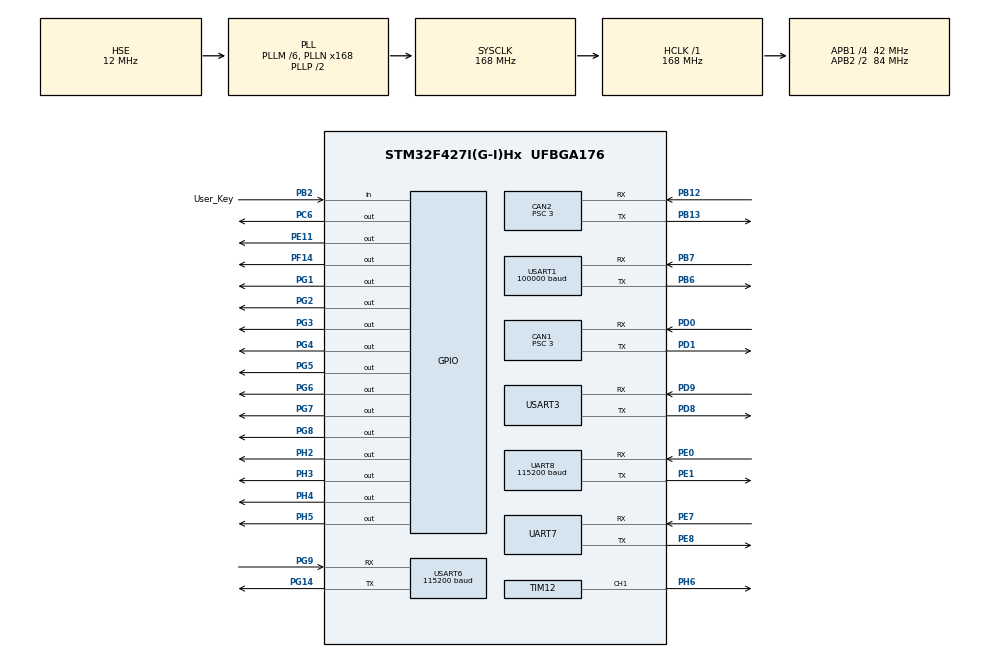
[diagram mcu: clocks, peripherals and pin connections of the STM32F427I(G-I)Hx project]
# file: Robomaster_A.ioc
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CAN1.BS1=CAN_BS1_10TQ
CAN1.BS2=CAN_BS2_3TQ
CAN1.CalculateBaudRate=1000000
CAN1.CalculateTimeBit=1000
CAN1.CalculateTimeQuantum=71.42857142857143
CAN1.Prescaler=3
CAN2.BS1=CAN_BS1_10TQ
CAN2.BS2=CAN_BS2_3TQ
CAN2.CalculateBaudRate=1000000
CAN2.CalculateTimeBit=1000
CAN2.CalculateTimeQuantum=71.42857142857143
CAN2.Prescaler=3
Dma.Request0=USART3_TX
Dma.Request1=UART7_RX
Dma.Request2=UART7_TX
Dma.Request3=UART8_TX
Dma.Request4=UART8_RX
Dma.Request5=USART6_RX
Dma.Request6=USART6_TX
Dma.UART7_RX.1.Direction=DMA_PERIPH_TO_MEMORY
Dma.UART7_RX.1.FIFOMode=DMA_FIFOMODE_DISABLE
Dma.UART7_RX.1.Instance=DMA1_Stream3
Dma.UART7_RX.1.MemDataAlignment=DMA_MDATAALIGN_BYTE
Dma.UART7_RX.1.MemInc=DMA_MINC_ENABLE
Dma.UART7_RX.1.Mode=DMA_NORMAL
Dma.UART7_RX.1.PeriphDataAlignment=DMA_PDATAALIGN_BYTE
Dma.UART7_RX.1.PeriphInc=DMA_PINC_DISABLE
Dma.UART7_RX.1.Priority=DMA_PRIORITY_LOW
Dma.UART7_TX.2.Direction=DMA_MEMORY_TO_PERIPH
Dma.UART7_TX.2.FIFOMode=DMA_FIFOMODE_DISABLE
Dma.UART7_TX.2.Instance=DMA1_Stream1
Dma.UART7_TX.2.MemDataAlignment=DMA_MDATAALIGN_BYTE
Dma.UART7_TX.2.MemInc=DMA_MINC_ENABLE
Dma.UART7_TX.2.Mode=DMA_NORMAL
Dma.UART7_TX.2.PeriphDataAlignment=DMA_PDATAALIGN_BYTE
Dma.UART7_TX.2.PeriphInc=DMA_PINC_DISABLE
Dma.UART7_TX.2.Priority=DMA_PRIORITY_LOW
Dma.UART8_RX.4.Direction=DMA_PERIPH_TO_MEMORY
Dma.UART8_RX.4.FIFOMode=DMA_FIFOMODE_DISABLE
Dma.UART8_RX.4.Instance=DMA1_Stream6
Dma.UART8_RX.4.MemDataAlignment=DMA_MDATAALIGN_BYTE
Dma.UART8_RX.4.MemInc=DMA_MINC_ENABLE
Dma.UART8_RX.4.Mode=DMA_NORMAL
Dma.UART8_RX.4.PeriphDataAlignment=DMA_PDATAALIGN_BYTE
Dma.UART8_RX.4.PeriphInc=DMA_PINC_DISABLE
Dma.UART8_RX.4.Priority=DMA_PRIORITY_LOW
Dma.UART8_TX.3.Direction=DMA_MEMORY_TO_PERIPH
Dma.UART8_TX.3.FIFOMode=DMA_FIFOMODE_DISABLE
Dma.UART8_TX.3.Instance=DMA1_Stream0
Dma.UART8_TX.3.MemDataAlignment=DMA_MDATAALIGN_BYTE
Dma.UART8_TX.3.MemInc=DMA_MINC_ENABLE
Dma.UART8_TX.3.Mode=DMA_NORMAL
Dma.UART8_TX.3.PeriphDataAlignment=DMA_PDATAALIGN_BYTE
Dma.UART8_TX.3.PeriphInc=DMA_PINC_DISABLE
Dma.UART8_TX.3.Priority=DMA_PRIORITY_LOW
Dma.USART3_TX.0.Direction=DMA_MEMORY_TO_PERIPH
Dma.USART3_TX.0.FIFOMode=DMA_FIFOMODE_DISABLE
Dma.USART3_TX.0.Instance=DMA1_Stream4
Dma.USART3_TX.0.MemDataAlignment=DMA_MDATAALIGN_BYTE
Dma.USART3_TX.0.MemInc=DMA_MINC_ENABLE
Dma.USART3_TX.0.Mode=DMA_NORMAL
Dma.USART3_TX.0.PeriphDataAlignment=DMA_PDATAALIGN_BYTE
Dma.USART3_TX.0.PeriphInc=DMA_PINC_DISABLE
Dma.USART3_TX.0.Priority=DMA_PRIORITY_LOW
Dma.USART6_RX.5.Direction=DMA_PERIPH_TO_MEMORY
Dma.USART6_RX.5.FIFOMode=DMA_FIFOMODE_DISABLE
Dma.USART6_RX.5.Instance=DMA2_Stream1
Dma.USART6_RX.5.MemDataAlignment=DMA_MDATAALIGN_BYTE
Dma.USART6_RX.5.MemInc=DMA_MINC_ENABLE
Dma.USART6_RX.5.Mode=DMA_NORMAL
Dma.USART6_RX.5.PeriphDataAlignment=DMA_PDATAALIGN_BYTE
Dma.USART6_RX.5.PeriphInc=DMA_PINC_DISABLE
Dma.USART6_RX.5.Priority=DMA_PRIORITY_LOW
Dma.USART6_TX.6.Direction=DMA_MEMORY_TO_PERIPH
Dma.USART6_TX.6.FIFOMode=DMA_FIFOMODE_DISABLE
Dma.USART6_TX.6.Instance=DMA2_Stream6
Dma.USART6_TX.6.MemDataAlignment=DMA_MDATAALIGN_BYTE
Dma.USART6_TX.6.MemInc=DMA_MINC_ENABLE
Dma.USART6_TX.6.Mode=DMA_NORMAL
Dma.USART6_TX.6.PeriphDataAlignment=DMA_PDATAALIGN_BYTE
Dma.USART6_TX.6.PeriphInc=DMA_PINC_DISABLE
Dma.USART6_TX.6.Priority=DMA_PRIORITY_LOW
FREERTOS.Tasks01=StartDebug,-2,128,StartDebugTask,Default,NULL,Dynamic,NULL,NULL;PID_OutputTask,0,256,PID_Output,Default,NULL,Dynamic,NULL,NULL;KeyTask,0,256,Key,Default,NULL,Dynamic,NULL,NULL;While,1,256,WhileTask,Default,NULL,Dynamic,NULL,NULL;Printf,-3,256,PrintfTask,Default,NULL,Dynamic,NULL,NULL;BlueTeeth,0,256,BlueTeethTask,Default,NULL,Dynamic,NULL,NULL
FREERTOS.configTOTAL_HEAP_SIZE=10000
FREERTOS.configUSE_NEWLIB_REENTRANT=0
Mcu.Family=STM32F4
Mcu.Name=STM32F427I(G-I)Hx
Mcu.Package=UFBGA176
NVIC.CAN1_RX0_IRQn=true\:5\:0\:true\:false\:true\:true\:true\:true\:true
NVIC.CAN2_RX0_IRQn=true\:5\:0\:false\:false\:true\:true\:true\:true\:true
NVIC.DMA1_Stream0_IRQn=true\:5\:0\:true\:false\:true\:true\:false\:true\:true
NVIC.DMA1_Stream1_IRQn=true\:5\:0\:true\:false\:true\:true\:false\:true\:true
NVIC.DMA1_Stream3_IRQn=true\:5\:0\:true\:false\:true\:true\:false\:true\:true
NVIC.DMA1_Stream4_IRQn=true\:5\:0\:true\:false\:true\:true\:false\:true\:true
NVIC.DMA1_Stream6_IRQn=true\:5\:0\:true\:false\:true\:true\:false\:true\:true
NVIC.DMA2_Stream1_IRQn=true\:5\:0\:false\:false\:true\:true\:false\:true\:true
NVIC.DMA2_Stream6_IRQn=true\:5\:0\:false\:false\:true\:true\:false\:true\:true
NVIC.PriorityGroup=NVIC_PRIORITYGROUP_4
NVIC.TIM4_IRQn=true\:15\:0\:false\:false\:true\:false\:false\:true\:true
NVIC.TimeBase=TIM4_IRQn
NVIC.TimeBaseIP=TIM4
NVIC.UART7_IRQn=true\:5\:0\:true\:false\:true\:true\:true\:true\:true
NVIC.UART8_IRQn=true\:5\:0\:true\:false\:true\:true\:true\:true\:true
NVIC.USART1_IRQn=true\:5\:0\:false\:false\:true\:true\:true\:true\:true
NVIC.USART3_IRQn=true\:5\:0\:true\:false\:true\:true\:true\:true\:true
NVIC.USART6_IRQn=true\:5\:0\:true\:false\:true\:true\:true\:true\:true
PA13.Mode=Serial_Wire
PA13.Signal=SYS_JTMS-SWDIO
PA14.Mode=Serial_Wire
PA14.Signal=SYS_JTCK-SWCLK
PB12.Mode=CAN_Activate
PB12.Signal=CAN2_RX
PB13.Mode=CAN_Activate
PB13.Signal=CAN2_TX
PB2/BOOT1.GPIO_Label=User_Key
PB2/BOOT1.GPIO_PuPd=GPIO_PULLDOWN
PB2/BOOT1.Signal=GPIO_Input
PB6.Mode=Asynchronous
PB6.Signal=USART1_TX
PB7.Mode=Asynchronous
PB7.Signal=USART1_RX
PC6.Signal=GPIO_Output
PD0.Mode=CAN_Activate
PD0.Signal=CAN1_RX
PD1.Mode=CAN_Activate
PD1.Signal=CAN1_TX
PD8.Mode=Asynchronous
PD8.Signal=USART3_TX
PD9.Mode=Asynchronous
PD9.Signal=USART3_RX
PE0.Mode=Asynchronous
PE0.Signal=UART8_RX
PE1.Mode=Asynchronous
PE1.Signal=UART8_TX
PE11.GPIO_PuPd=GPIO_NOPULL
PE11.GPIO_Speed=GPIO_SPEED_FREQ_HIGH
PE11.Signal=GPIO_Output
PE7.Mode=Asynchronous
PE7.Signal=UART7_RX
PE8.Mode=Asynchronous
PE8.Signal=UART7_TX
PF14.GPIO_Speed=GPIO_SPEED_FREQ_HIGH
PF14.Signal=GPIO_Output
PG1.GPIO_Speed=GPIO_SPEED_FREQ_LOW
PG1.PinState=GPIO_PIN_SET
PG1.Signal=GPIO_Output
PG14.GPIO_PuPd=GPIO_NOPULL
PG14.Mode=Asynchronous
PG14.Signal=USART6_TX
PG2.GPIO_Speed=GPIO_SPEED_FREQ_LOW
PG2.PinState=GPIO_PIN_SET
PG2.Signal=GPIO_Output
PG3.GPIO_Speed=GPIO_SPEED_FREQ_LOW
PG3.PinState=GPIO_PIN_SET
PG3.Signal=GPIO_Output
PG4.GPIO_Speed=GPIO_SPEED_FREQ_LOW
PG4.PinState=GPIO_PIN_SET
PG4.Signal=GPIO_Output
PG5.GPIO_Speed=GPIO_SPEED_FREQ_LOW
PG5.PinState=GPIO_PIN_SET
PG5.Signal=GPIO_Output
PG6.GPIO_Speed=GPIO_SPEED_FREQ_LOW
PG6.PinState=GPIO_PIN_SET
PG6.Signal=GPIO_Output
PG7.GPIO_Speed=GPIO_SPEED_FREQ_LOW
PG7.PinState=GPIO_PIN_SET
PG7.Signal=GPIO_Output
PG8.GPIO_Speed=GPIO_SPEED_FREQ_LOW
PG8.PinState=GPIO_PIN_SET
PG8.Signal=GPIO_Output
PG9.GPIO_PuPd=GPIO_PULLUP
PG9.Mode=Asynchronous
PG9.Signal=USART6_RX
PH0/OSC_IN.Mode=HSE-External-Oscillator
PH0/OSC_IN.Signal=RCC_OSC_IN
PH1/OSC_OUT.Mode=HSE-External-Oscillator
PH1/OSC_OUT.Signal=RCC_OSC_OUT
PH2.Signal=GPIO_Output
PH3.Signal=GPIO_Output
PH4.Signal=GPIO_Output
PH5.Signal=GPIO_Output
PH6.Signal=S_TIM12_CH1
ProjectManager.HeapSize=0x200
ProjectManager.StackSize=0x400
ProjectManager.TargetToolchain=STM32CubeIDE
RCC.48MHZClocksFreq_Value=84000000
RCC.AHBFreq_Value=168000000
RCC.APB1CLKDivider=RCC_HCLK_DIV4
RCC.APB1Freq_Value=42000000
RCC.APB1TimFreq_Value=84000000
RCC.APB2CLKDivider=RCC_HCLK_DIV2
RCC.APB2Freq_Value=84000000
RCC.APB2TimFreq_Value=168000000
RCC.CortexFreq_Value=168000000
RCC.HCLKFreq_Value=168000000
RCC.HSE_VALUE=12000000
RCC.HSI_VALUE=16000000
RCC.LSE_VALUE=32768
RCC.PLLM=6
RCC.PLLN=168
RCC.PLLSourceVirtual=RCC_PLLSOURCE_HSE
RCC.SYSCLKFreq_VALUE=168000000
RCC.SYSCLKSource=RCC_SYSCLKSOURCE_PLLCLK
RCC.VCOOutputFreq_Value=336000000
SH.S_TIM12_CH1.0=TIM12_CH1,PWM Generation1 CH1
TIM12.AutoReloadPreload=TIM_AUTORELOAD_PRELOAD_ENABLE
TIM12.Channel-PWM\ Generation1\ CH1=TIM_CHANNEL_1
TIM12.Period=16799
TIM12.Prescaler=3
UART7.VirtualMode=Asynchronous
UART8.BaudRate=115200
UART8.VirtualMode=Asynchronous
USART1.BaudRate=100000
USART1.VirtualMode=VM_ASYNC
USART3.VirtualMode=VM_ASYNC
USART6.BaudRate=115200
USART6.VirtualMode=VM_ASYNC
VP_FREERTOS_VS_CMSIS_V1.Mode=CMSIS_V1
VP_SYS_VS_tim4.Mode=TIM4
VP_TIM12_VS_ClockSourceINT.Mode=Internal
board=custom

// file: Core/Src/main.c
/* USER CODE BEGIN Header */
/**
  ******************************************************************************
  * @file           : main.c
  * @brief          : Main program body
  ******************************************************************************
  * @attention
  *
  * Copyright (c) 2023 STMicroelectronics.
  * All rights reserved.
  *
  * This software is licensed under terms that can be found in the LICENSE file
  * in the root directory of this software component.
  * If no LICENSE file comes with this software, it is provided AS-IS.
  *
  ******************************************************************************
  */
/* USER CODE END Header */
#include "main.h"
#include "cmsis_os.h"
#include "can.h"
#include "dma.h"
#include "tim.h"
#include "usart.h"
#include "gpio.h"

void SystemClock_Config(void);
void MX_FREERTOS_Init(void);

int main(void)
{

  /* MCU Configuration--------------------------------------------------------*/

  /* Reset of all peripherals, Initializes the Flash interface and the Systick. */
  HAL_Init();

  /* Configure the system clock */
  SystemClock_Config();

  /* Initialize all configured peripherals */
  MX_GPIO_Init();
  MX_DMA_Init();
  MX_CAN1_Init();
  MX_CAN2_Init();
  MX_USART3_UART_Init();
  MX_USART6_UART_Init();
  MX_UART8_Init();
  MX_UART7_Init();
  MX_TIM12_Init();
  MX_USART1_UART_Init();

  /* Call init function for freertos objects (in freertos.c) */
  MX_FREERTOS_Init();

  /* Start scheduler */
  osKernelStart();

  /* We should never get here as control is now taken by the scheduler */
  /* Infinite loop */
  while (1)
  {

  }
}

void SystemClock_Config(void)
{
  RCC_OscInitTypeDef RCC_OscInitStruct = {0};
  RCC_ClkInitTypeDef RCC_ClkInitStruct = {0};

  /** Configure the main internal regulator output voltage
  */
  __HAL_RCC_PWR_CLK_ENABLE();
  __HAL_PWR_VOLTAGESCALING_CONFIG(PWR_REGULATOR_VOLTAGE_SCALE1);

  /** Initializes the RCC Oscillators according to the specified parameters
  * in the RCC_OscInitTypeDef structure.
  */
  RCC_OscInitStruct.OscillatorType = RCC_OSCILLATORTYPE_HSE;
  RCC_OscInitStruct.HSEState = RCC_HSE_ON;
  RCC_OscInitStruct.PLL.PLLState = RCC_PLL_ON;
  RCC_OscInitStruct.PLL.PLLSource = RCC_PLLSOURCE_HSE;
  RCC_OscInitStruct.PLL.PLLM = 6;
  RCC_OscInitStruct.PLL.PLLN = 168;
  RCC_OscInitStruct.PLL.PLLP = RCC_PLLP_DIV2;
  RCC_OscInitStruct.PLL.PLLQ = 4;
  if (HAL_RCC_OscConfig(&RCC_OscInitStruct) != HAL_OK)
  {
    Error_Handler();
  }

  /** Initializes the CPU, AHB and APB buses clocks
  */
  RCC_ClkInitStruct.ClockType = RCC_CLOCKTYPE_HCLK|RCC_CLOCKTYPE_SYSCLK
                              |RCC_CLOCKTYPE_PCLK1|RCC_CLOCKTYPE_PCLK2;
  RCC_ClkInitStruct.SYSCLKSource = RCC_SYSCLKSOURCE_PLLCLK;
  RCC_ClkInitStruct.AHBCLKDivider = RCC_SYSCLK_DIV1;
  RCC_ClkInitStruct.APB1CLKDivider = RCC_HCLK_DIV4;
  RCC_ClkInitStruct.APB2CLKDivider = RCC_HCLK_DIV2;

  if (HAL_RCC_ClockConfig(&RCC_ClkInitStruct, FLASH_LATENCY_5) != HAL_OK)
  {
    Error_Handler();
  }
}

void HAL_TIM_PeriodElapsedCallback(TIM_HandleTypeDef *htim)
{
  if (htim->Instance == TIM4) {
    HAL_IncTick();
  }
}

void Error_Handler(void)
{
  __disable_irq();
  while (1)
  {
  }
}

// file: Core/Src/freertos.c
/* USER CODE BEGIN Header */
/**
  ******************************************************************************
  * File Name          : freertos.c
  * Description        : Code for freertos applications
  ******************************************************************************
  * @attention
  *
  * Copyright (c) 2023 STMicroelectronics.
  * All rights reserved.
  *
  * This software is licensed under terms that can be found in the LICENSE file
  * in the root directory of this software component.
  * If no LICENSE file comes with this software, it is provided AS-IS.
  *
  ******************************************************************************
  */
/* USER CODE END Header */

#include "FreeRTOS.h"
#include "task.h"
#include "main.h"
#include "cmsis_os.h"

/* USER CODE BEGIN PM */
int Charge_count = 0;
extern int feed;
/* USER CODE END PM */

osThreadId StartDebugHandle;
osThreadId PID_OutputTaskHandle;
osThreadId KeyTaskHandle;
osThreadId WhileHandle;
osThreadId PrintfHandle;
osThreadId BlueTeethHandle;

void StartDebugTask(void const * argument);
void PID_Output(void const * argument);
void Key(void const * argument);
void WhileTask(void const * argument);
void PrintfTask(void const * argument);
void BlueTeethTask(void const * argument);

void MX_FREERTOS_Init(void); /* (MISRA C 2004 rule 8.1) */

/* GetIdleTaskMemory prototype (linked to static allocation support) */
void vApplicationGetIdleTaskMemory( StaticTask_t **ppxIdleTaskTCBBuffer, StackType_t **ppxIdleTaskStackBuffer, uint32_t *pulIdleTaskStackSize );

/* USER CODE BEGIN GET_IDLE_TASK_MEMORY */
static StaticTask_t xIdleTaskTCBBuffer;
static StackType_t xIdleStack[configMINIMAL_STACK_SIZE];

void vApplicationGetIdleTaskMemory( StaticTask_t **ppxIdleTaskTCBBuffer, StackType_t **ppxIdleTaskStackBuffer, uint32_t *pulIdleTaskStackSize )
{
  *ppxIdleTaskTCBBuffer = &xIdleTaskTCBBuffer;
  *ppxIdleTaskStackBuffer = &xIdleStack[0];
  *pulIdleTaskStackSize = configMINIMAL_STACK_SIZE;
  /* place for user code */
}
/* USER CODE END GET_IDLE_TASK_MEMORY */

void MX_FREERTOS_Init(void) {

  /* Create the thread(s) */
  /* definition and creation of StartDebug */
  osThreadDef(StartDebug, StartDebugTask, osPriorityLow, 0, 128);
  StartDebugHandle = osThreadCreate(osThread(StartDebug), NULL);

  /* definition and creation of PID_OutputTask */
  osThreadDef(PID_OutputTask, PID_Output, osPriorityNormal, 0, 256);
  PID_OutputTaskHandle = osThreadCreate(osThread(PID_OutputTask), NULL);

  /* definition and creation of KeyTask */
  osThreadDef(KeyTask, Key, osPriorityNormal, 0, 256);
  KeyTaskHandle = osThreadCreate(osThread(KeyTask), NULL);

  /* definition and creation of While */
  osThreadDef(While, WhileTask, osPriorityAboveNormal, 0, 256);
  WhileHandle = osThreadCreate(osThread(While), NULL);

  /* definition and creation of Printf */
  osThreadDef(Printf, PrintfTask, osPriorityIdle, 0, 256);
  PrintfHandle = osThreadCreate(osThread(Printf), NULL);

  /* definition and creation of BlueTeeth */
  osThreadDef(BlueTeeth, BlueTeethTask, osPriorityNormal, 0, 256);
  BlueTeethHandle = osThreadCreate(osThread(BlueTeeth), NULL);

  /* USER CODE BEGIN RTOS_THREADS */
  /* add threads, ... */
    vTaskResume(StartDebugHandle);
    vTaskSuspend(PID_OutputTaskHandle);
    vTaskSuspend(PrintfHandle);
    vTaskSuspend(KeyTaskHandle);
    vTaskSuspend(WhileHandle);
    vTaskSuspend(BlueTeethHandle);
  /* USER CODE END RTOS_THREADS */

}

void StartDebugTask(void const * argument)
{
  /* USER CODE BEGIN StartDebugTask */
    Mymain_Init();

    vTaskResume(PID_OutputTaskHandle);
    vTaskResume(PrintfHandle);
    vTaskResume(WhileHandle);
    vTaskResume(KeyTaskHandle);
    vTaskResume(BlueTeethHandle);

    BUZZER_OFF;

//    printf7("1 free\n");
  /* Infinite loop */
  for(;;)
  {
      LED1_Flash;
      LED2_Flash;
      WaterLED();
//      printf3("%d,%d,%d,%d,%d,%d,%d\r\n",SCREEN[1].Username[0],SCREEN[1].Username[1],SCREEN[1].Username[2],SCREEN[1].Username[3],SCREEN[1].Username[4],SCREEN[1].Username[5],SCREEN[1].Username[6]);
//      osDelay(10);
//      printf3("%d,%d,%d,%d,%d,%d,%d\r\n",SCREEN[2].Username[0],SCREEN[2].Username[1],SCREEN[2].Username[2],SCREEN[2].Username[3],SCREEN[2].Username[4],SCREEN[2].Username[5],SCREEN[2].Username[6]);

//      printf7("1\r\n");
      osDelay(70);
  }
  /* USER CODE END StartDebugTask */
}

void PID_Output(void const * argument)
{
  /* USER CODE BEGIN PID_Output */
    int16_t Speed1,Speed2,Speed3,Speed4;
    int16_t Speed1_OUT,Speed2_OUT,Speed3_OUT,Speed4_OUT;

    //数组0-3对应电机id1-4
    PID_Change(&MOTOR2006_S[0],&MOTOR2006_P[0],5.5f,0.05f,0.0f,0.45f,1.5f);
    PID_Change(&MOTOR2006_S[1],&MOTOR2006_P[1],5.5f,0.05f,0.0f,0.45f,1.5f);
    PID_Change(&MOTOR2006_S[2],&MOTOR2006_P[2],5.5f,0.05f,0.0f,0.45f,1.5f);
    PID_Change(&MOTOR2006_S[3],&MOTOR2006_P[3],5.5f,0.05f,0.0f,0.45f,1.5f);

    //记录电机应该对开的正向电机角度正负
    /*
     *   如下图机构所示：
     *   上层：
     *      * * * *
     *      * * * *
     *   <- * * * *  ->
     *      * * * *
     *    id2       id1
     *
     *    下层：
     *          ^
     *          |
     *      * * * *  id4
     *      * * * *
     *      * * * *
     *      * * * *
     *              id3
     *           |
     *           \/
     *
     *
     */

//    AllMotor_Give(0,0,0,10);
  /* Infinite loop */
  for(;;)
  {
//      AllMotor_Give(OneLocker_Angle,2 * OneLocker_Angle,(float)(-OneLocker_Angle + OneLocker_Angle * (3 - 1)),-2 * OneLocker_Angle);

      Speed1 = (int16_t) PID_realise(&MOTOR2006_P[0],Angle_Output[0],motor_info[0].total_angle,M2006_CURRENT_MAX);
      Speed2 = (int16_t) PID_realise(&MOTOR2006_P[1],Angle_Output[1],motor_info[1].total_angle,M2006_CURRENT_MAX);
      Speed3 = (int16_t) PID_realise(&MOTOR2006_P[2],Angle_Output[2],motor_info[2].total_angle,M2006_CURRENT_MAX);
      Speed4 = (int16_t) PID_realise(&MOTOR2006_P[3],Angle_Output[3],motor_info[3].total_angle,M2006_CURRENT_MAX);

//      usart_printf("%f,%d,%f,%d\n",Angle_Output[0],motor_info[0].total_angle,Angle_Output[1],motor_info[0].total_angle);
      Speed1 = Output_Limit(Speed1);
      Speed2 = Output_Limit(Speed2);
      Speed3 = Output_Limit(Speed3);
      Speed4 = Output_Limit(Speed4);
//      printf3("1\n");
      Speed1_OUT = (int16_t) PID_realise(&MOTOR2006_S[0],Speed1,motor_info[0].speed,M2006_CURRENT_MAX);
      Speed2_OUT = (int16_t) PID_realise(&MOTOR2006_S[1],Speed2,motor_info[1].speed,M2006_CURRENT_MAX);
      Speed3_OUT = (int16_t) PID_realise(&MOTOR2006_S[2],Speed3,motor_info[2].speed,M2006_CURRENT_MAX);
      Speed4_OUT = (int16_t) PID_realise(&MOTOR2006_S[3],Speed4,motor_info[3].speed,M2006_CURRENT_MAX);

      set_current(&hcan1,0x200,Speed1_OUT,Speed2_OUT,Speed3_OUT,Speed4_OUT);

    osDelay(5);
  }
  /* USER CODE END PID_Output */
}

void Key(void const * argument)
{
  /* USER CODE BEGIN Key */
  /* Infinite loop */
  for(;;)
  {
      Key_Scan();
    osDelay(1);
  }
  /* USER CODE END Key */
}

void WhileTask(void const * argument)
{
  /* USER CODE BEGIN WhileTask */
  /* Infinite loop */
  for(;;)
  {
      if(init_flag == 1)
          UR_Init();

    osDelay(0);
  }
  /* USER CODE END WhileTask */
}

void PrintfTask(void const * argument)
{
  /* USER CODE BEGIN PrintfTask */
  /* Infinite loop */
  for(;;)
  {
      Printf_Judge();
    osDelay(80);
  }
  /* USER CODE END PrintfTask */
}

void BlueTeethTask(void const * argument)
{
  /* USER CODE BEGIN BlueTeethTask */

  /* Infinite loop */
  for(;;)
  {
      Blue_Judge();
      esp8266_send();
    osDelay(5000);
  }
  /* USER CODE END BlueTeethTask */
}
